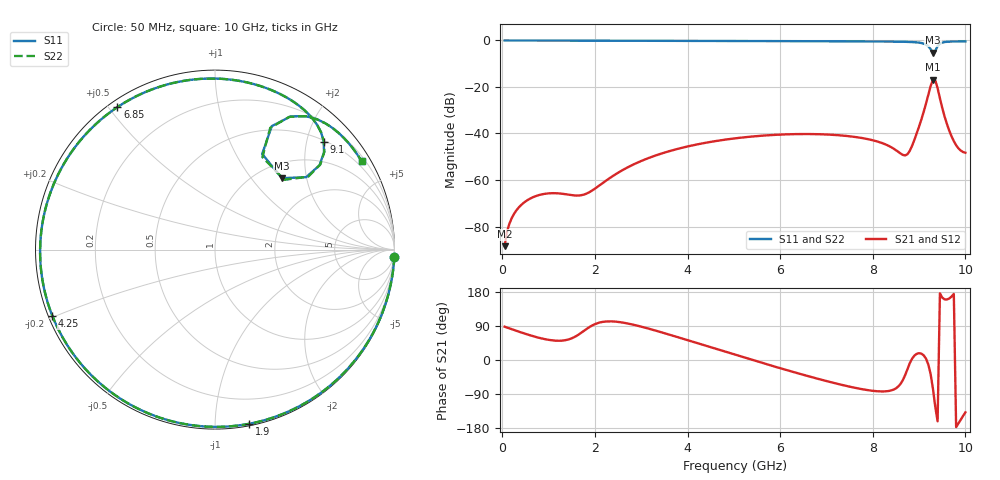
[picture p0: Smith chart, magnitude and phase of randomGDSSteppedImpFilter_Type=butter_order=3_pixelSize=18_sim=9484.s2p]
! freq	dB(S11)	phase(S11)	dB(S12)	phase(S12)
!  dB(S21)	phase(S21)	dB(S22)	phase(S22)
!S-par simulation data
#  GHz  S  DB  R 50
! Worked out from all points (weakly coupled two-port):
!   200 points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, 50 MHz to 10 GHz, reference 50 ohm
!   highest |S21| = -16.91 dB at 9.3 GHz (marker M1); lowest = -88.5 dB at 50 MHz (marker M2)
!   lowest |S11| = -5.3 dB at 9.3 GHz (marker M3), VSWR 3.40, Z = 63.6 + j72.1 ohm
!   |S11| at or under -10 dB: nowhere
!   |S22| runs from -5.2 to 0.0 dB; largest |S21 - S12| = 0
!   S11 on the Smith chart (normalised r, x): 50 MHz: 0, -52; 1.9 GHz: 0.01, -1.21; 4.25 GHz: 0.01, -0.20; 6.85 GHz: 0.02, +0.53; 9.1 GHz: 0.52, +2.32; 10 GHz: 0.33, +3.58
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0.05  -0.00 -2.2  -88.45 87.8  -88.45 87.8  -0.00 -2.2
0.4  -0.03 -17.5  -70.89 73.0  -70.89 73.0  -0.03 -17.5
0.7  -0.04 -30.4  -67.10 61.6  -67.10 61.6  -0.04 -30.4
1.75  -0.09 -73.2  -66.34 75.8  -66.34 75.8  -0.09 -73.2
1.9  -0.10 -78.9  -65.03 88.2  -65.03 88.2  -0.10 -78.9
2.6  -0.12 -104.4  -55.71 98.8  -55.71 98.8  -0.12 -104.4
3.4  -0.15 -131.3  -48.86 74.4  -48.86 74.4  -0.15 -131.2
4.25  -0.19 -157.8  -44.53 43.0  -44.53 43.0  -0.19 -157.8
5.05  -0.23 178.3  -42.03 13.0  -42.03 13.0  -0.23 178.3
6.7  -0.33 129.0  -40.26 -45.8  -40.26 -45.8  -0.33 129.0
6.85  -0.34 124.4  -40.32 -50.8  -40.32 -50.8  -0.34 124.4
7.65  -0.39 99.3  -41.58 -74.2  -41.58 -74.2  -0.39 99.3
8.35  -0.48 76.1  -45.38 -81.6  -45.38 -81.6  -0.48 76.1
8.75  -0.61 61.5  -48.90 -23.6  -48.90 -23.6  -0.61 61.6
9.1  -1.37 44.8  -30.65 12.2  -30.65 12.2  -1.34 45.0
9.2  -2.52 38.9  -23.28 -12.1  -23.28 -12.1  -2.43 39.0
9.3  -5.27 46.9  -16.91 -76.4  -16.91 -76.4  -5.22 45.2
9.35  -4.52 63.7  -17.15 -123.7  -17.15 -123.7  -4.75 62.9
9.45  -1.37 60.4  -24.87 175.9  -24.87 175.9  -1.44 60.8
9.7  -0.47 43.2  -41.17 167.3  -41.17 167.3  -0.47 43.4
9.85  -0.42 36.7  -46.39 -167.4  -46.39 -167.4  -0.42 36.8
10  -0.41 31.0  -48.28 -138.2  -48.28 -138.2  -0.41 31.0
